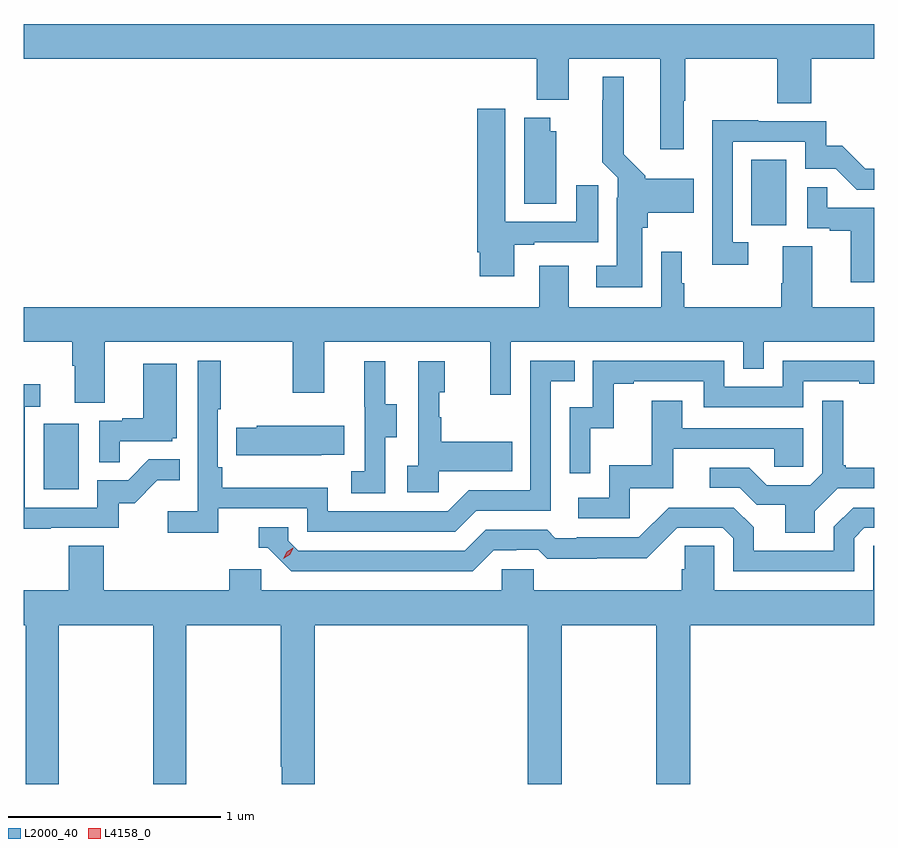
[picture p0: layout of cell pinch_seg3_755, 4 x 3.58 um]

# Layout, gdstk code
import gdstk
lib = gdstk.Library(unit=1e-6, precision=1e-09)
def R(c, l, rs):  # rectangles x0, y0, x1, y1
    for r in rs: c.add(gdstk.rectangle(r[:2], r[2:], *l))
def P(c, l, *ps):  # polygons
    for p in ps: c.add(gdstk.Polygon(p, *l))
L2000_40 = (2000, 40)
L4158_0 = (4158, 0)

pinch_seg3_755 = lib.new_cell('pinch_seg3_755')
R(pinch_seg3_755, L2000_40, [(850.412,738.852,850.576,739.159), (853.742,740.094,853.906,740.401)])
P(pinch_seg3_755, L2000_40, [(853.423,740.68),(853.431,740.68),(853.431,740.876),(853.864,740.876),(853.864,740.668),(854.024,740.668),(854.024,740.876),(854.319,740.876),(854.319,741.04),(850.319,741.04),(850.319,740.876),(852.731,740.876),(852.731,740.684),(852.883,740.684),(852.883,740.876),(853.313,740.876),(853.313,740.451),(853.423,740.451)],
  [(853.228,740.082),(853.254,740.082),(853.254,740.153),(853.471,740.153),(853.471,740.311),(853.242,740.311),(853.242,740.326),(853.141,740.428),(853.141,740.791),(853.043,740.791),(853.043,740.681),(853.039,740.681),(853.039,740.39),(853.113,740.316),(853.113,740.222),(853.109,740.222),(853.109,739.903),(853.011,739.903),(853.011,739.802),(853.228,739.802)],
  [(852.625,740.001),(852.721,740.001),(852.721,740.013),(853.021,740.013),(853.021,740.281),(852.917,740.281),(852.917,740.109),(852.583,740.109),(852.583,740.641),(852.452,740.641),(852.452,739.966),(852.464,739.966),(852.464,739.854),(852.625,739.854)],
  [(852.823,740.535),(852.796,740.535),(852.796,740.599),(852.674,740.599),(852.674,740.194),(852.823,740.194)],
  [(853.726,740.013),(853.653,740.013),(853.653,740.487),(853.995,740.487),(853.995,740.358),(854.139,740.358),(854.237,740.26),(854.319,740.26),(854.319,740.359),(854.277,740.359),(854.17,740.466),(854.094,740.466),(854.094,740.583),(853.775,740.583),(853.775,740.588),(853.557,740.588),(853.557,739.908),(853.726,739.908)],
  [(854.319,740.175),(854.099,740.175),(854.099,740.273),(854.004,740.273),(854.004,740.079),(854.111,740.079),(854.111,740.067),(854.21,740.067),(854.21,739.824),(854.319,739.824)],
  [(850.319,739.544),(850.547,739.544),(850.547,739.432),(850.559,739.432),(850.559,739.258),(850.699,739.258),(850.699,739.544),(851.584,739.544),(851.584,739.305),(851.731,739.305),(851.731,739.544),(852.512,739.544),(852.512,739.296),(852.609,739.296),(852.609,739.544),(853.704,739.544),(853.704,739.417),(853.8,739.417),(853.8,739.544),(854.319,739.544),(854.319,739.708),(854.029,739.708),(854.029,739.994),(853.889,739.994),(853.889,739.82),(853.882,739.82),(853.882,739.708),(853.426,739.708),(853.426,739.82),(853.414,739.82),(853.414,739.969),(853.317,739.969),(853.317,739.708),(852.883,739.708),(852.883,739.903),(852.743,739.903),(852.743,739.708),(850.319,739.708)],
  [(851.234,738.762),(851.652,738.762),(851.652,738.651),(852.349,738.651),(852.448,738.75),(852.798,738.75),(852.798,739.359),(852.911,739.359),(852.911,739.455),(852.702,739.455),(852.702,738.846),(852.411,738.846),(852.312,738.747),(851.748,738.747),(851.748,738.859),(851.252,738.859),(851.252,738.955),(851.232,738.955),(851.232,739.228),(851.245,739.228),(851.245,739.456),(851.136,739.456),(851.136,738.748),(850.995,738.748),(850.995,738.646),(851.234,738.646)],
  [(852.984,739.139),(853.094,739.139),(853.094,739.347),(853.189,739.347),(853.189,739.359),(853.518,739.359),(853.518,739.236),(853.986,739.236),(853.986,739.359),(854.249,739.359),(854.249,739.347),(854.319,739.347),(854.319,739.455),(853.89,739.455),(853.89,739.332),(853.614,739.332),(853.614,739.455),(852.996,739.455),(852.996,739.236),(852.888,739.236),(852.888,738.927),(852.984,738.927)],
  [(852.27,738.935),(852.617,738.935),(852.617,739.075),(852.283,739.075),(852.283,739.19),(852.273,739.19),(852.273,739.308),(852.298,739.308),(852.298,739.453),(852.174,739.453),(852.174,738.962),(852.123,738.962),(852.123,738.837),(852.27,738.837)],
  [(852.018,739.096),(852.073,739.096),(852.073,739.251),(852.019,739.251),(852.019,739.453),(851.921,739.453),(851.921,739.239),(851.922,739.239),(851.922,738.935),(851.859,738.935),(851.859,738.832),(852.018,738.832)],
  [(850.769,739.077),(851.016,739.077),(851.016,739.092),(851.038,739.092),(851.038,739.441),(850.88,739.441),(850.88,739.186),(850.781,739.186),(850.781,739.173),(850.674,739.173),(850.674,738.979),(850.769,738.979)],
  [(850.445,738.669),(850.764,738.669),(850.764,738.786),(850.84,738.786),(850.947,738.893),(851.051,738.893),(851.051,738.992),(850.907,738.992),(850.809,738.894),(850.665,738.894),(850.665,738.765),(850.323,738.765),(850.323,739.239),(850.396,739.239),(850.396,739.345),(850.319,739.345),(850.319,738.664),(850.445,738.664)],
  [(853.17,738.855),(853.375,738.855),(853.375,739.041),(853.849,739.041),(853.849,738.957),(853.986,738.957),(853.986,739.137),(853.417,739.137),(853.417,739.267),(853.273,739.267),(853.273,738.964),(853.074,738.964),(853.074,738.81),(852.927,738.81),(852.927,738.714),(853.17,738.714)],
  [(854.041,738.748),(854.148,738.855),(854.319,738.855),(854.319,738.952),(854.185,738.952),(854.185,738.964),(854.173,738.964),(854.173,739.267),(854.076,739.267),(854.076,738.927),(854.019,738.87),(853.813,738.87),(853.732,738.951),(853.545,738.951),(853.545,738.858),(853.686,738.858),(853.766,738.778),(853.901,738.778),(853.901,738.646),(854.041,738.646)],
  [(851.717,739.013),(851.825,739.013),(851.825,739.15),(851.415,739.15),(851.415,739.14),(851.317,739.14),(851.317,739.01),(851.717,739.01)],
  [(852.529,738.564),(852.636,738.564),(852.636,738.567),(852.739,738.567),(852.781,738.525),(853.014,738.525),(853.014,738.527),(853.25,738.527),(853.392,738.669),(853.608,738.669),(853.656,738.621),(853.656,738.465),(854.226,738.465),(854.226,738.621),(854.274,738.669),(854.319,738.669),(854.319,738.765),(854.22,738.765),(854.13,738.675),(854.13,738.561),(853.753,738.561),(853.753,738.671),(853.659,738.765),(853.353,738.765),(853.212,738.624),(852.919,738.624),(852.919,738.621),(852.82,738.621),(852.781,738.66),(852.492,738.66),(852.393,738.561),(851.61,738.561),(851.562,738.609),(851.562,738.672),(851.423,738.672),(851.423,738.576),(851.466,738.576),(851.577,738.465),(852.43,738.465)],
  [(851.527,737.545),(851.531,737.545),(851.531,737.464),(851.687,737.464),(851.687,738.212),(852.689,738.212),(852.689,737.464),(852.849,737.464),(852.849,738.212),(853.294,738.212),(853.294,737.464),(853.454,737.464),(853.454,738.212),(854.319,738.212),(854.319,738.584),(854.316,738.584),(854.316,738.376),(853.566,738.376),(853.566,738.584),(853.429,738.584),(853.429,738.474),(853.415,738.474),(853.415,738.376),(852.717,738.376),(852.717,738.474),(852.567,738.474),(852.567,738.376),(851.436,738.376),(851.436,738.474),(851.285,738.474),(851.285,738.376),(850.694,738.376),(850.694,738.584),(850.529,738.584),(850.529,738.376),(850.319,738.376),(850.319,738.212),(850.327,738.212),(850.327,737.464),(850.482,737.464),(850.482,738.212),(850.927,738.212),(850.927,737.464),(851.082,737.464),(851.082,738.212),(851.527,738.212)])
P(pinch_seg3_755, L4158_0, [(851.539,738.523),(851.539,738.523),(851.555,738.556),(851.586,738.575),(851.586,738.575),(851.586,738.574),(851.57,738.542),(851.539,738.523)])

lib.write_gds('pinch_seg3_755.gds')
